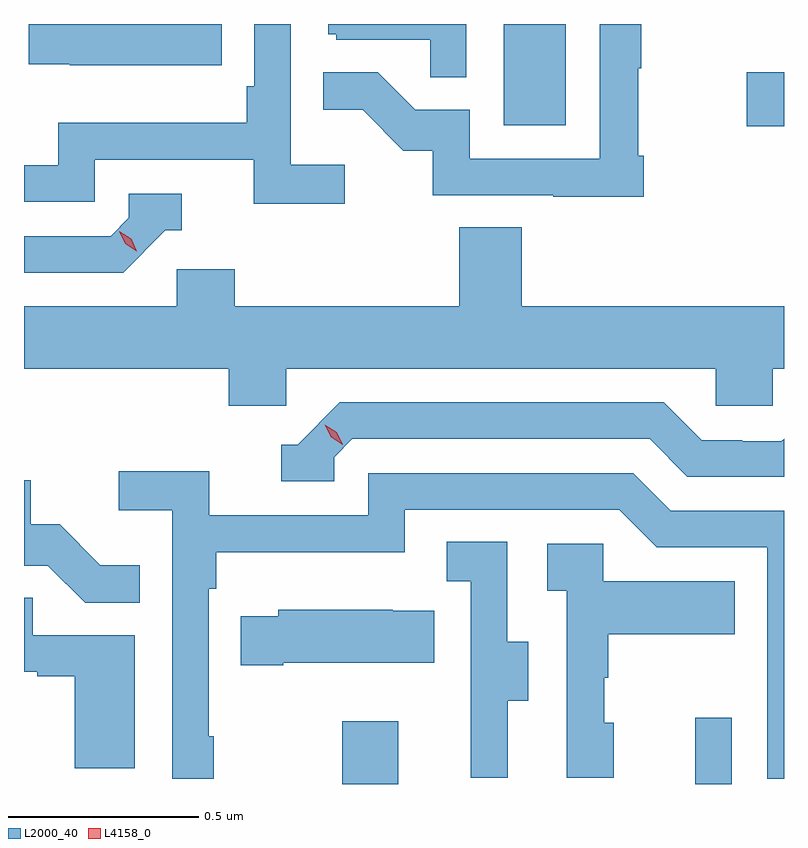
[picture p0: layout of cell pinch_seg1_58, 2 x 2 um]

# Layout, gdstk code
import gdstk
lib = gdstk.Library(unit=1e-6, precision=1e-09)
def R(c, l, rs):  # rectangles x0, y0, x1, y1
    for r in rs: c.add(gdstk.rectangle(r[:2], r[2:], *l))
def P(c, l, *ps):  # polygons
    for p in ps: c.add(gdstk.Polygon(p, *l))
L2000_40 = (2000, 40)
L4158_0 = (4158, 0)

pinch_seg1_58 = lib.new_cell('pinch_seg1_58')
R(pinch_seg1_58, L2000_40, [(1074.028,563.959,1074.175,564.124), (1074.956,563.959,1075.053,564.133), (1075.092,565.69,1075.19,565.832), (1074.452,565.692,1074.616,565.959)])
P(pinch_seg1_58, L2000_40, [(1073.711,565.959),(1073.203,565.959),(1073.203,565.853),(1073.311,565.853),(1073.311,565.85),(1073.711,565.85)],
  [(1074.821,565.612),(1074.806,565.612),(1074.806,565.842),(1074.814,565.842),(1074.814,565.959),(1074.705,565.959),(1074.705,565.605),(1074.363,565.605),(1074.363,565.734),(1074.219,565.734),(1074.121,565.832),(1073.977,565.832),(1073.977,565.733),(1074.081,565.733),(1074.188,565.626),(1074.265,565.626),(1074.265,565.509),(1074.583,565.509),(1074.583,565.504),(1074.821,565.504)],
  [(1074.354,565.959),(1073.99,565.959),(1073.99,565.932),(1074.012,565.932),(1074.012,565.917),(1074.259,565.917),(1074.259,565.819),(1074.354,565.819)],
  [(1074.034,565.588),(1073.892,565.588),(1073.892,565.959),(1073.796,565.959),(1073.796,565.795),(1073.776,565.795),(1073.776,565.699),(1073.28,565.699),(1073.28,565.587),(1073.19,565.587),(1073.19,565.491),(1073.376,565.491),(1073.376,565.602),(1073.795,565.602),(1073.795,565.486),(1074.034,565.486)],
  [(1073.562,565.416),(1073.605,565.416),(1073.605,565.512),(1073.466,565.512),(1073.466,565.449),(1073.418,565.401),(1073.19,565.401),(1073.19,565.305),(1073.451,565.305)],
  [(1073.88,565.052),(1075.011,565.052),(1075.011,564.954),(1075.161,564.954),(1075.161,565.052),(1075.19,565.052),(1075.19,565.216),(1074.5,565.216),(1074.5,565.424),(1074.335,565.424),(1074.335,565.216),(1073.744,565.216),(1073.744,565.314),(1073.592,565.314),(1073.592,565.216),(1073.19,565.216),(1073.19,565.052),(1073.729,565.052),(1073.729,564.954),(1073.88,564.954)],
  [(1074.006,564.819),(1074.054,564.867),(1074.837,564.867),(1074.936,564.768),(1075.19,564.768),(1075.19,564.868),(1075.183,564.861),(1075.08,564.861),(1075.08,564.864),(1074.973,564.864),(1074.874,564.963),(1074.021,564.963),(1073.91,564.852),(1073.867,564.852),(1073.867,564.756),(1074.006,564.756)],
  [(1073.689,564.085),(1073.676,564.085),(1073.676,564.473),(1073.696,564.473),(1073.696,564.569),(1074.192,564.569),(1074.192,564.681),(1074.756,564.681),(1074.855,564.582),(1075.146,564.582),(1075.146,563.973),(1075.19,563.973),(1075.19,564.678),(1074.892,564.678),(1074.793,564.777),(1074.096,564.777),(1074.096,564.666),(1073.678,564.666),(1073.678,564.782),(1073.439,564.782),(1073.439,564.68),(1073.58,564.68),(1073.58,563.973),(1073.689,563.973)],
  [(1073.495,564.535),(1073.391,564.535),(1073.284,564.642),(1073.208,564.642),(1073.208,564.759),(1073.19,564.759),(1073.19,564.534),(1073.253,564.534),(1073.351,564.436),(1073.495,564.436)],
  [(1074.463,564.178),(1074.517,564.178),(1074.517,564.333),(1074.462,564.333),(1074.462,564.596),(1074.303,564.596),(1074.303,564.493),(1074.366,564.493),(1074.366,564.189),(1074.365,564.189),(1074.365,563.976),(1074.463,563.976)],
  [(1074.742,564.12),(1074.717,564.12),(1074.717,564.239),(1074.727,564.239),(1074.727,564.353),(1075.061,564.353),(1075.061,564.493),(1074.714,564.493),(1074.714,564.591),(1074.567,564.591),(1074.567,564.467),(1074.618,564.467),(1074.618,563.976),(1074.742,563.976)],
  [(1073.482,564.351),(1073.213,564.351),(1073.213,564.449),(1073.19,564.449),(1073.19,564.255),(1073.225,564.255),(1073.225,564.243),(1073.324,564.243),(1073.324,564),(1073.482,564)],
  [(1073.872,564.278),(1074.269,564.278),(1074.269,564.415),(1074.161,564.415),(1074.161,564.418),(1073.859,564.418),(1073.859,564.4),(1073.761,564.4),(1073.761,564.271),(1073.872,564.271)])
P(pinch_seg1_58, L4158_0, [(1074.029,564.852),(1073.998,564.872),(1073.982,564.904),(1073.982,564.905),(1073.982,564.905),(1074.013,564.885),(1074.029,564.852),(1074.029,564.852)],
  [(1073.487,565.361),(1073.456,565.381),(1073.441,565.414),(1073.441,565.414),(1073.441,565.414),(1073.472,565.394),(1073.487,565.361),(1073.487,565.361)])

lib.write_gds('pinch_seg1_58.gds')
